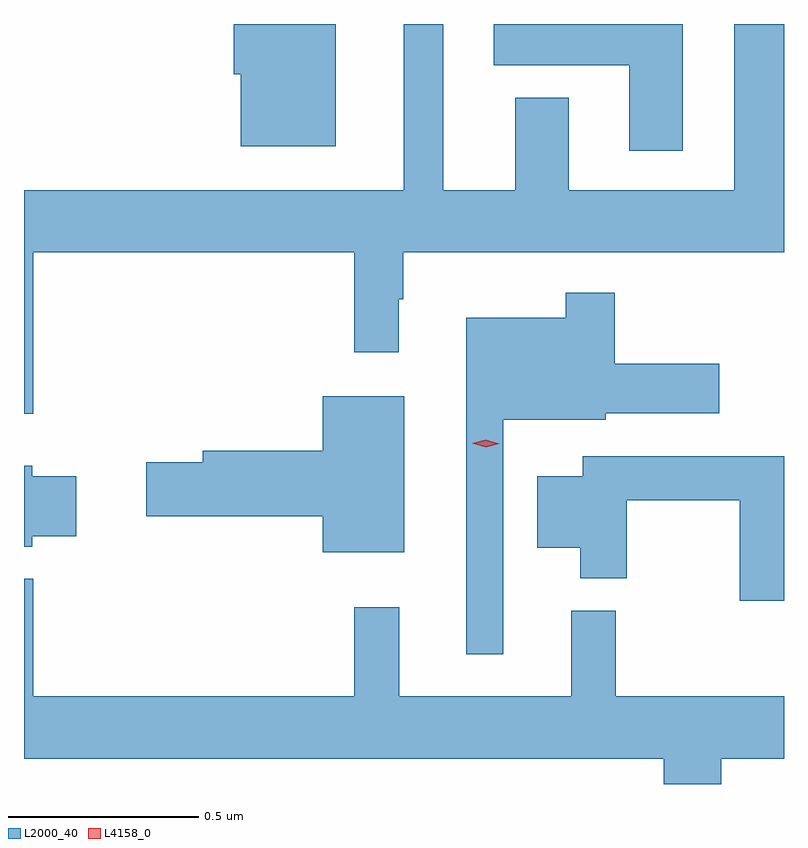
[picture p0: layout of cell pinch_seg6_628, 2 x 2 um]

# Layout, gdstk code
import gdstk
lib = gdstk.Library(unit=1e-6, precision=1e-09)
def P(c, l, *ps):  # polygons
    for p in ps: c.add(gdstk.Polygon(p, *l))
L2000_40 = (2000, 40)
L4158_0 = (4158, 0)

pinch_seg6_628 = lib.new_cell('pinch_seg6_628')
P(pinch_seg6_628, L2000_40, [(493.82,983.3),(494.665,983.3),(494.665,983.037),(494.782,983.037),(494.782,983.177),(494.794,983.177),(494.794,983.3),(495.796,983.3),(495.796,983.901),(495.665,983.901),(495.665,983.464),(495.229,983.464),(495.229,983.707),(495.089,983.707),(495.089,983.464),(494.899,983.464),(494.899,983.901),(494.795,983.901),(494.795,983.464),(493.796,983.464),(493.796,982.875),(493.82,982.875)],
  [(495.529,983.901),(495.032,983.901),(495.032,983.792),(495.389,983.792),(495.389,983.568),(495.529,983.568)],
  [(494.617,983.901),(494.348,983.901),(494.348,983.769),(494.366,983.769),(494.366,983.579),(494.617,983.579)],
  [(495.057,982.859),(495.327,982.859),(495.327,982.877),(495.625,982.877),(495.625,983.007),(495.35,983.007),(495.35,983.194),(495.222,983.194),(495.222,983.128),(494.96,983.128),(494.96,982.242),(495.057,982.242)],
  [(494.797,982.921),(494.582,982.921),(494.582,982.778),(494.267,982.778),(494.267,982.748),(494.118,982.748),(494.118,982.606),(494.582,982.606),(494.582,982.511),(494.797,982.511)],
  [(495.796,982.764),(495.266,982.764),(495.266,982.711),(495.146,982.711),(495.146,982.523),(495.26,982.523),(495.26,982.442),(495.382,982.442),(495.382,982.648),(495.68,982.648),(495.68,982.383),(495.796,982.383)],
  [(493.818,982.553),(493.933,982.553),(493.933,982.711),(493.818,982.711),(493.818,982.738),(493.796,982.738),(493.796,982.526),(493.818,982.526)],
  [(495.631,981.968),(495.796,981.968),(495.796,982.132),(495.353,982.132),(495.353,982.357),(495.236,982.357),(495.236,982.132),(494.783,982.132),(494.783,982.366),(494.665,982.366),(494.665,982.132),(493.82,982.132),(493.82,982.441),(493.796,982.441),(493.796,981.968),(495.479,981.968),(495.479,981.901),(495.631,981.901)])
P(pinch_seg6_628, L4158_0, [(495.011,982.787),(494.976,982.798),(494.975,982.798),(494.976,982.798),(495.011,982.807),(495.047,982.796),(495.047,982.796),(495.047,982.796)])

lib.write_gds('pinch_seg6_628.gds')
